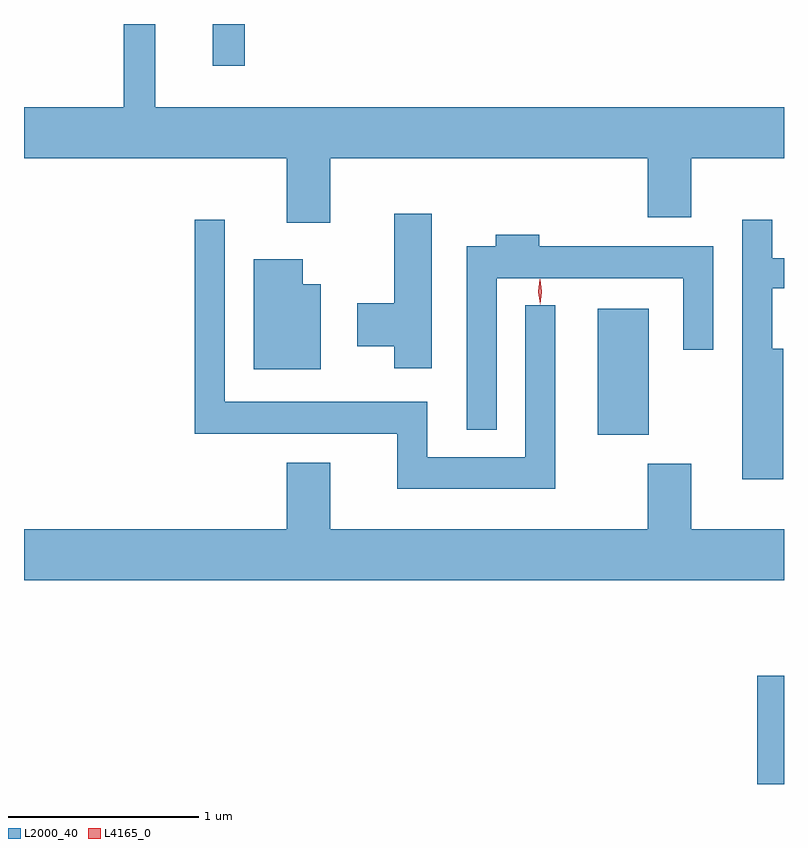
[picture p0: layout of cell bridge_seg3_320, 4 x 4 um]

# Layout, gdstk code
import gdstk
lib = gdstk.Library(unit=1e-6, precision=1e-09)
def R(c, l, rs):  # rectangles x0, y0, x1, y1
    for r in rs: c.add(gdstk.rectangle(r[:2], r[2:], *l))
def P(c, l, *ps):  # polygons
    for p in ps: c.add(gdstk.Polygon(p, *l))
L2000_40 = (2000, 40)
L4165_0 = (4165, 0)

bridge_seg3_320 = lib.new_cell('bridge_seg3_320')
R(bridge_seg3_320, L2000_40, [(552.796,1233.723,552.937,1234.294), (551.956,1235.561,552.224,1236.224), (549.931,1237.503,550.099,1237.723)])
P(bridge_seg3_320, L2000_40, [(550.549,1237.016),(552.221,1237.016),(552.221,1236.706),(552.449,1236.706),(552.449,1237.016),(552.937,1237.016),(552.937,1237.284),(549.629,1237.284),(549.629,1237.723),(549.461,1237.723),(549.461,1237.284),(548.937,1237.284),(548.937,1237.016),(550.321,1237.016),(550.321,1236.676),(550.549,1236.676)],
  [(551.084,1236.724),(550.886,1236.724),(550.886,1236.254),(550.691,1236.254),(550.691,1236.026),(550.886,1236.026),(550.886,1235.911),(551.084,1235.911)],
  [(551.734,1236.243),(551.576,1236.243),(551.576,1235.444),(551.059,1235.444),(551.059,1235.734),(549.994,1235.734),(549.994,1236.693),(549.836,1236.693),(549.836,1235.566),(550.901,1235.566),(550.901,1235.276),(551.734,1235.276)],
  [(552.934,1236.014),(552.874,1236.014),(552.874,1236.331),(552.937,1236.331),(552.937,1236.489),(552.874,1236.489),(552.874,1236.693),(552.716,1236.693),(552.716,1235.326),(552.934,1235.326)],
  [(551.424,1236.386),(552.406,1236.386),(552.406,1236.008),(552.564,1236.008),(552.564,1236.554),(551.649,1236.554),(551.649,1236.614),(551.421,1236.614),(551.421,1236.554),(551.266,1236.554),(551.266,1235.588),(551.424,1235.588)],
  [(550.499,1236.354),(550.404,1236.354),(550.404,1236.484),(550.146,1236.484),(550.146,1235.906),(550.499,1235.906)],
  [(552.937,1235.064),(552.449,1235.064),(552.449,1235.409),(552.221,1235.409),(552.221,1235.064),(550.549,1235.064),(550.549,1235.414),(550.321,1235.414),(550.321,1235.064),(548.937,1235.064),(548.937,1234.796),(552.937,1234.796)])
P(bridge_seg3_320, L4165_0, [(551.653,1236.247),(551.643,1236.314),(551.652,1236.38),(551.653,1236.38),(551.654,1236.38),(551.663,1236.314),(551.654,1236.247),(551.654,1236.247)])

lib.write_gds('bridge_seg3_320.gds')
